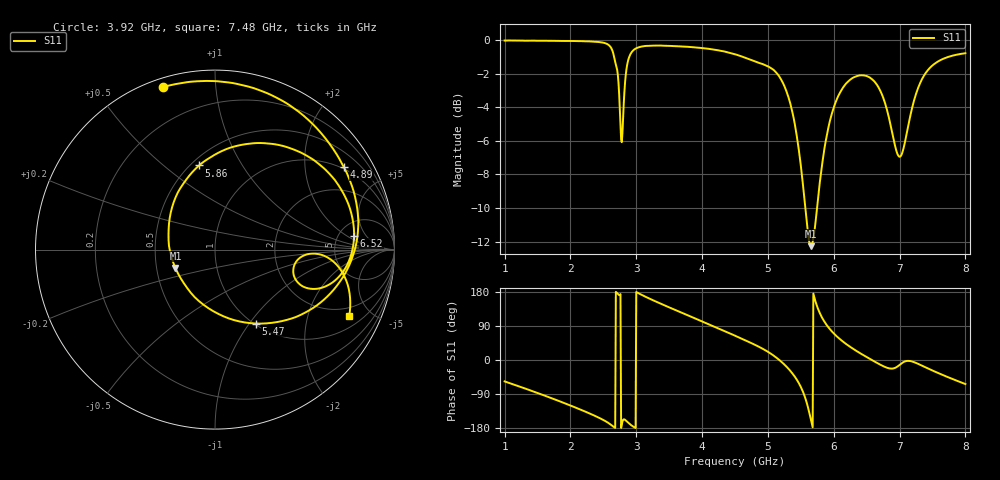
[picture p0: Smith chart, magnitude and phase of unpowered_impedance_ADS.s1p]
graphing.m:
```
%% Not Powered
% NOTE: Averaging and smoothing used on VNA to reduce noise. Noise is 
% present because incident power is -60dBm so the amplifier operates
% in the proper setting. 

clear all
clc


[data_VNA] = xlsread('DataFiles/Jan11_2.xlsx','7','A2:D1602');
S11_VNA = data_VNA(:,2);
load('DataFiles/unpoweredExtendedf.mat');
S11_sim = data_analysis.dataBlocks.data.dependents(1,:);
f_sim = data_analysis.dataBlocks.data.independent(1,:);
S11_sim_dB = 20*log10(abs(S11_sim));

% Convert to Z Parameters
    % NOTE Z11 not acutally used b/c a better way to do this is to
    % just grab the data from the VNA in Smith format
    
Z11_sim = 50.*(1+S11_sim)./(1-S11_sim);
[Z11_meas, ~, ~, ~, S11_meas_dB, f_meas]= graphImpedance(data_VNA);
% As is done below

[data_VNA_z] = xlsread('DataFiles/Jan11_2.xlsx','8','A2:D1602');
S_11 = data_VNA_z(:,2) + 1i*data_VNA_z(:,3);
Z_11 = 50.*(1+S_11)./(1-S_11);


figure;
plot(f_meas,imag(Z_11),f_meas,real(Z_11),f_sim,imag(Z11_sim),f_sim,real(Z11_sim))

figure;
plot(f_sim,S11_sim_dB,f_meas,S11_VNA);

% Setup touchsone file and write it
    %S50 = reshape(S_11,[1,1,1601]);
    %rfwrite(S50, f_meas, 'TestRF.s1p')
    
S = sparameters('DataFiles/touchstone/unpowered_extended.s1p');
S_11_smith = rfparam(S,1,1);
S_ADS = sparameters('DataFiles/touchstone/unpowered_impedance_ADS.s1p');
S_11_smith_ADS = rfparam(S_ADS,1,1);
figure;
s = smithplot(S_11_smith);
add(s, S_11_smith_ADS);


%% asTested

load('DataFiles/asTestedExtendedf.mat');
S11_sim = data_analysis.dataBlocks.data.dependents(1,:);
f_sim = data_analysis.dataBlocks.data.independent(1,:);
S11_sim_dB = 20*log10(abs(S11_sim));

[data_VNA] = xlsread('DataFiles/Jan11_2.xlsx','5','A2:D1602');
S11_VNA = data_VNA(:,2);
f_meas = data_VNA(:,1);


% Convert to Z Parameters
    % NOTE Z11 not acutally used b/c a better way to do this is to
    % just grab the data from the VNA in Smith format
Z11_sim = 50.*(1+S11_sim)./(1-S11_sim);
[Z11_meas, ~, ~, ~, S11_meas_dB, f_meas]= graphImpedance(data_VNA);

% As is done below

[data_VNA_z] = xlsread('DataFiles/Jan11_2.xlsx','6','A2:D1602');
S_11 = data_VNA_z(:,2) + 1i*data_VNA_z(:,3);
Z_11 = 50.*(1+S_11)./(1-S_11);


% Setup touchsone file and write it
    % S50 = reshape(S_11,[1,1,1601]);
    % rfwrite(S50, f_meas, 'DataFiles/touchstone/asTestedExtended.s1p')
S = sparameters('DataFiles/touchstone/asTestedExtended.s1p');
S_11_smith = rfparam(S,1,1);
figure;
smithchart(S_11_smith)

figure;
plot(f_meas,imag(Z_11),f_meas,real(Z_11),f_sim,imag(Z11_sim),f_sim,real(Z11_sim))

figure;
plot(f_sim,S11_sim_dB,f_meas,S11_VNA);


%% Original Design
% Note the impedance analysis for this is not that intersting 
% because the resistance goes to zero as predicted by
% steady state oscialltion theory

load('DataFiles/OriginallyDesigned.mat');
S11_sim = data_analysis.dataBlocks.data.dependents(1,:);
f_sim = data_analysis.dataBlocks.data.independent(1,:);
S11_sim_dB = 20*log10(abs(S11_sim));

[data_VNA] = xlsread('DataFiles/Jan11.xlsx','3','A2:D1602');
S11_VNA = data_VNA(:,2);
f_meas = data_VNA(:,1);

% Convert to Z Parameters
Z11_sim = 50.*(1+S11_sim)./(1-S11_sim);
[Z11_meas, ~, ~, ~, S11_meas_dB, f_meas]= graphImpedance(data_VNA);

figure;
plot(f_sim,S11_sim_dB,f_meas,S11_VNA);

figure;
plot(f_meas,imag(Z11_meas),f_meas,real(Z11_meas),f_sim,imag(Z11_sim),f_sim,real(Z11_sim))


%% 3 Units comparison
clear all
close all
[data_VNA] = xlsread('DataFiles/Jan11_2.xlsx','5','A2:D1602');
S11_VNA = data_VNA(:,2);
f_meas = data_VNA(:,1);
[data_VNA_2] = xlsread('DataFiles/jan15_unit2.xlsx','3','A2:D1602');
S11_VNA_2 = data_VNA_2(:,2);
f_meas2 = data_VNA_2(:,1);
[data_VNA_3] = xlsread('DataFiles/jan15_unit2.xlsx','5','A2:D1602');
S11_VNA_3 = data_VNA_3(:,2);
f_meas3 = data_VNA_3(:,1);


plot(f_meas,S11_VNA,f_meas2,S11_VNA_2,f_meas3,S11_VNA_3);
```
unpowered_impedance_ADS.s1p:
! Created Mon Jan 15 10:18:24 2018
# hz S ri R 50
! 1 Port Network Data from SP2.SP block
! freq  reS11  imS11
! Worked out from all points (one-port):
!   701 points, 1 GHz to 8 GHz, reference 50 ohm
!   lowest |S11| = -12.3 dB at 5.65 GHz (marker M1), VSWR 1.64, Z = 31.4 - j6.86 ohm
!   |S11| at or under -10 dB: 5.568 GHz to 5.746 GHz (177.9 MHz wide, 3.14 % of centre)
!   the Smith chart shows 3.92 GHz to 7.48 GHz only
!   S11 on the Smith chart (normalised r, x): 3.92 GHz: 0.04, +0.73; 4.89 GHz: 0.95, +3.17; 5.47 GHz: 1.02, -1.07; 5.86 GHz: 0.55, +0.67; 6.52 GHz: 6.94, +2.75; 7.48 GHz: 1.53, -3.70
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1e9  0.5507 -0.8314
1.97e9  -0.4671 -0.8775
2.56e9  -0.937 -0.2633
3.34e9  -0.8429 0.4671
3.92e9  -0.2895 0.9052
4.89e9  0.7184 0.4581
5.47e9  0.2271 -0.4119
5.65e9  -0.2204 -0.1029
5.67e9  -0.2424 -0.0422
5.86e9  -0.0888 0.4689
6.52e9  0.775 0.0779
6.98e9  0.4359 -0.1229
7.48e9  0.7481 -0.3688
8e9  0.4076 -0.8182
